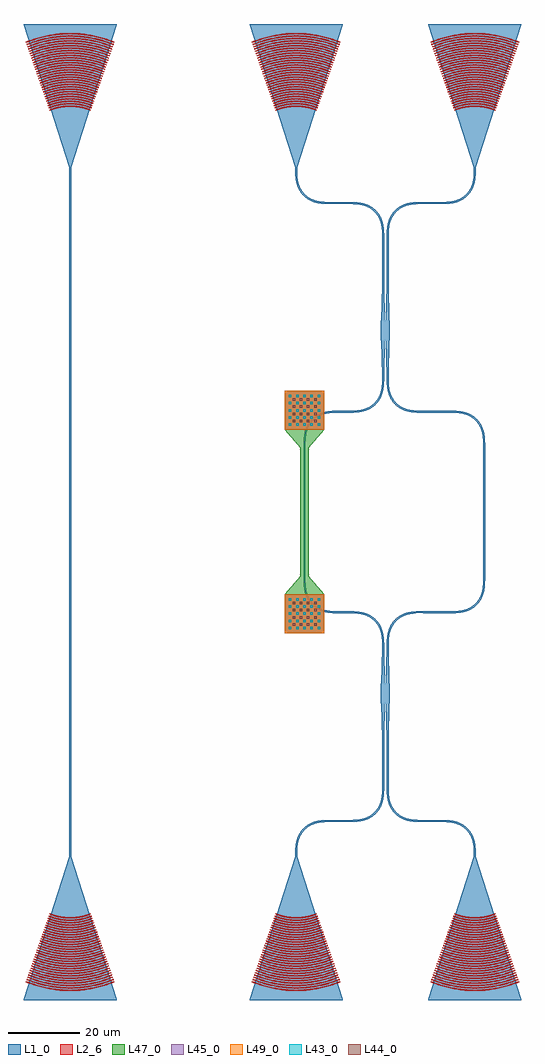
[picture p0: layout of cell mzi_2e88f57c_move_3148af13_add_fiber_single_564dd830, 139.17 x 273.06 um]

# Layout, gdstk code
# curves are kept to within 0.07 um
from math import pi, radians
import gdstk
lib = gdstk.Library(unit=1e-6, precision=1e-09)
def R(c, l, rs):  # rectangles x0, y0, x1, y1
    for r in rs: c.add(gdstk.rectangle(r[:2], r[2:], *l))
def P(c, l, *ps):  # polygons
    for p in ps: c.add(gdstk.Polygon(p, *l))
L1_0 = (1, 0)
L2_6 = (2, 6)
L43_0 = (43, 0)
L44_0 = (44, 0)
L45_0 = (45, 0)
L47_0 = (47, 0)
L49_0 = (49, 0)

mmi2x2 = lib.new_cell('mmi2x2')
R(mmi2x2, L1_0, [(0,-1.25,5.5,1.25)])
P(mmi2x2, L1_0, [(-10,-0.375),(0,-0.125),(0,-1.125),(-10,-0.875)],
  [(-10,0.875),(0,1.125),(0,0.125),(-10,0.375)],
  [(15.5,0.375),(5.5,0.125),(5.5,1.125),(15.5,0.875)],
  [(15.5,-0.875),(5.5,-1.125),(5.5,-0.125),(15.5,-0.375)])

bend_euler = lib.new_cell('bend_euler')
P(bend_euler, L1_0, [(0,-0.25),(2.795,-0.158),(4.746,0.203),(5.688,0.543),(6.455,0.934),(7.285,1.5),(7.928,2.072),(8.5,2.715),(9.066,3.545),(9.457,4.312),(9.797,5.254),(10.158,7.205),(10.25,10),(9.75,10),(9.647,7.119),(9.48,6.048),(9.194,5.01),(8.495,3.569),(7.575,2.425),(6.431,1.505),(4.99,0.806),(3.952,0.52),(2.881,0.353),(0,0.25)])

straight_length7p0 = lib.new_cell('straight_length7p0')
R(straight_length7p0, L1_0, [(0,-0.25,7,0.25)])

straight_length0p1 = lib.new_cell('straight_length0p1')
R(straight_length0p1, L1_0, [(0,-0.25,0.1,0.25)])

straight_length2p0 = lib.new_cell('straight_length2p0')
R(straight_length2p0, L1_0, [(0,-0.25,2,0.25)])

straight_add_pinsfalse_l = lib.new_cell('straight_add_pinsFalse_length0p1')
R(straight_add_pinsfalse_l, L1_0, [(0,-0.25,0.1,0.25)])

straight_6e0386c1 = lib.new_cell('straight_6e0386c1')
R(straight_6e0386c1, L1_0, [(0,-0.25,17.95,0.25)])
R(straight_6e0386c1, L47_0, [(0,-1.25,17.95,1.25)])

component_sequence_a6803 = lib.new_cell('component_sequence_a6803755')
component_sequence_a6803.add(gdstk.Reference(straight_add_pinsfalse_l, (0,0)))
component_sequence_a6803.add(gdstk.Reference(straight_6e0386c1, (0.1,0)))
component_sequence_a6803.add(gdstk.Reference(straight_6e0386c1, (18.05,0)))
component_sequence_a6803.add(gdstk.Reference(straight_add_pinsfalse_l, (36,0)))

compass_d8224c77 = lib.new_cell('compass_d8224c77')
R(compass_d8224c77, L47_0, [(-5.5,-5.5,5.5,5.5)])

compass_layerm2_size11p0 = lib.new_cell('compass_layerM2_size11p0__11p0')
R(compass_layerm2_size11p0, L45_0, [(-5.5,-5.5,5.5,5.5)])

compass_layermtop_size11 = lib.new_cell('compass_layerMTOP_size11p0__11p0')
R(compass_layermtop_size11, L49_0, [(-5.5,-5.5,5.5,5.5)])

via_enclosure2_layervia1 = lib.new_cell('via_enclosure2_layerVIA1')
R(via_enclosure2_layervia1, L44_0, [(-0.35,-0.35,0.35,0.35)])

via_layervia2 = lib.new_cell('via_layerVIA2')
R(via_layervia2, L43_0, [(-0.35,-0.35,0.35,0.35)])

via_stack_64ed2af4 = lib.new_cell('via_stack_64ed2af4')
via_stack_64ed2af4.add(gdstk.Reference(compass_d8224c77, (0,0)))
via_stack_64ed2af4.add(gdstk.Reference(compass_layerm2_size11p0, (0,0)))
via_stack_64ed2af4.add(gdstk.Reference(compass_layermtop_size11, (0,0)))
r = gdstk.Reference(via_enclosure2_layervia1, (-3,-3)); r.repetition = gdstk.Repetition(4, 4, v1=(2,0), v2=(0,2)); via_stack_64ed2af4.add(r)
r = gdstk.Reference(via_layervia2, (-4,-4)); r.repetition = gdstk.Repetition(5, 5, v1=(2,0), v2=(0,2)); via_stack_64ed2af4.add(r)

taper_724fbfc5 = lib.new_cell('taper_724fbfc5')
P(taper_724fbfc5, L47_0, [(0,5.5),(5,1.25),(5,-1.25),(0,-5.5)])

straight_heater_metal_un = lib.new_cell('straight_heater_metal_undercut_7c702180')
straight_heater_metal_un.add(gdstk.Reference(component_sequence_a6803, (0,0)))
straight_heater_metal_un.add(gdstk.Reference(via_stack_64ed2af4, (-10.4,0)))
straight_heater_metal_un.add(gdstk.Reference(via_stack_64ed2af4, (46.5,0)))
straight_heater_metal_un.add(gdstk.Reference(taper_724fbfc5, (-4.9,0)))
straight_heater_metal_un.add(gdstk.Reference(taper_724fbfc5, (41,0), rotation=pi))

bend_euler_bfe3acbc = lib.new_cell('bend_euler_bfe3acbc')
P(bend_euler_bfe3acbc, L1_0, [(0,-0.25),(2.795,-0.158),(4.746,0.203),(5.688,0.543),(6.455,0.934),(7.285,1.5),(7.928,2.072),(8.5,2.715),(9.066,3.545),(9.457,4.312),(9.797,5.254),(10.158,7.205),(10.25,10),(9.75,10),(9.647,7.119),(9.48,6.048),(9.194,5.01),(8.495,3.569),(7.575,2.425),(6.431,1.505),(4.99,0.806),(3.952,0.52),(2.881,0.353),(0,0.25)])

straight_c32ff59b = lib.new_cell('straight_c32ff59b')
R(straight_c32ff59b, L1_0, [(0,-0.25,0.01,0.25)])

straight_8ff7e57c = lib.new_cell('straight_8ff7e57c')
R(straight_8ff7e57c, L1_0, [(0,-0.25,2,0.25)])

straight_1a78eb69 = lib.new_cell('straight_1a78eb69')
R(straight_1a78eb69, L1_0, [(0,-0.25,36.01,0.25)])

straight_bff6b4c5 = lib.new_cell('straight_bff6b4c5')
R(straight_bff6b4c5, L1_0, [(0,-0.25,7,0.25)])

mzi_2e88f57c = lib.new_cell('mzi_2e88f57c')
mzi_2e88f57c.add(gdstk.Reference(mmi2x2, (0,0)))
mzi_2e88f57c.add(gdstk.Reference(mmi2x2, (107.12,0), rotation=pi, x_reflection=True))
mzi_2e88f57c.add(gdstk.Reference(bend_euler, (15.5,-0.625), x_reflection=True))
mzi_2e88f57c.add(gdstk.Reference(straight_length7p0, (25.5,-10.625), rotation=3*pi/2))
mzi_2e88f57c.add(gdstk.Reference(bend_euler, (25.5,-17.625), rotation=3*pi/2))
mzi_2e88f57c.add(gdstk.Reference(straight_length0p1, (35.5,-27.625)))
mzi_2e88f57c.add(gdstk.Reference(bend_euler, (15.5,0.625)))
mzi_2e88f57c.add(gdstk.Reference(straight_length2p0, (25.5,10.625), rotation=pi/2))
mzi_2e88f57c.add(gdstk.Reference(bend_euler, (35.5,22.625), rotation=pi))
mzi_2e88f57c.add(gdstk.Reference(straight_heater_metal_un, (35.5,22.625)))
mzi_2e88f57c.add(gdstk.Reference(bend_euler_bfe3acbc, (71.61,22.625), x_reflection=True))
mzi_2e88f57c.add(gdstk.Reference(bend_euler_bfe3acbc, (81.61,10.625), rotation=3*pi/2))
mzi_2e88f57c.add(gdstk.Reference(straight_c32ff59b, (71.6,22.625)))
mzi_2e88f57c.add(gdstk.Reference(straight_8ff7e57c, (81.61,12.625), rotation=3*pi/2))
mzi_2e88f57c.add(gdstk.Reference(straight_c32ff59b, (91.61,0.625)))
mzi_2e88f57c.add(gdstk.Reference(bend_euler_bfe3acbc, (71.61,-27.625)))
mzi_2e88f57c.add(gdstk.Reference(bend_euler_bfe3acbc, (81.61,-10.625), rotation=pi/2, x_reflection=True))
mzi_2e88f57c.add(gdstk.Reference(straight_1a78eb69, (35.6,-27.625)))
mzi_2e88f57c.add(gdstk.Reference(straight_bff6b4c5, (81.61,-17.625), rotation=pi/2))
mzi_2e88f57c.add(gdstk.Reference(straight_c32ff59b, (91.61,-0.625)))

mzi_2e88f57c_move_3148af = lib.new_cell('mzi_2e88f57c_move_3148af13')
mzi_2e88f57c_move_3148af.add(gdstk.Reference(mzi_2e88f57c, (10,0.625)))

straight_18b5235a = lib.new_cell('straight_18b5235a')
R(straight_18b5235a, L1_0, [(0,-0.25,12.89,0.25)])

straight_9d4abc06 = lib.new_cell('straight_9d4abc06')
R(straight_9d4abc06, L1_0, [(0,-0.25,4.35,0.25)])

straight_4a691cdc = lib.new_cell('straight_4a691cdc')
R(straight_4a691cdc, L1_0, [(0,-0.25,4.4,0.25)])

straight_5fb44ea7 = lib.new_cell('straight_5fb44ea7')
R(straight_5fb44ea7, L1_0, [(0,-0.25,12.87,0.25)])

grating_coupler_elliptic = lib.new_cell('grating_coupler_elliptical_trenches_taper_angle35')
P(grating_coupler_elliptic, L1_0, [(0.471,-0.25),(0.471,0.25),(40.352,12.973),(40.552,12.973),(40.552,-12.973),(40.352,-12.973)])
P(grating_coupler_elliptic, L2_6, [(16.414,-5.811),(16.3,-5.646),(16.82,-4.153),(17.178,-2.617),(17.351,-1.313),(17.409,0),(17.351,1.313),(17.178,2.617),(16.82,4.153),(16.3,5.646),(16.414,5.811),(16.61,5.77),(16.981,4.76),(17.344,3.465),(17.658,1.611),(17.743,0),(17.658,-1.611),(17.344,-3.465),(16.981,-4.76),(16.61,-5.77)],
  [(17.047,-6.03),(16.933,-5.866),(17.473,-4.315),(17.845,-2.718),(18.025,-1.364),(18.085,0),(18.025,1.364),(17.845,2.718),(17.473,4.315),(16.933,5.866),(17.047,6.03),(17.243,5.988),(17.444,5.469),(17.793,4.407),(18.066,3.325),(18.33,1.671),(18.419,0),(18.33,-1.671),(18.066,-3.325),(17.793,-4.407),(17.444,-5.469),(17.243,-5.988)],
  [(17.68,-6.25),(17.566,-6.086),(18.126,-4.477),(18.512,-2.82),(18.699,-1.415),(18.761,0),(18.699,1.415),(18.512,2.82),(18.126,4.477),(17.566,6.086),(17.68,6.25),(17.876,6.208),(17.982,5.94),(18.363,4.846),(18.665,3.729),(19.003,1.733),(19.095,0),(19.003,-1.733),(18.665,-3.729),(18.363,-4.846),(17.982,-5.94),(17.876,-6.208)],
  [(18.313,-6.469),(18.199,-6.304),(18.779,-4.638),(19.179,-2.922),(19.373,-1.466),(19.437,0),(19.373,1.466),(19.179,2.922),(18.779,4.638),(18.199,6.304),(18.313,6.469),(18.509,6.428),(18.619,6.15),(19.013,5.018),(19.326,3.861),(19.676,1.794),(19.771,0),(19.676,-1.794),(19.326,-3.861),(19.013,-5.018),(18.619,-6.15),(18.509,-6.428)],
  [(18.946,-6.689),(18.832,-6.525),(19.432,-4.8),(19.846,-3.024),(20.046,-1.517),(20.113,0),(20.046,1.517),(19.846,3.024),(19.432,4.8),(18.832,6.525),(18.946,6.689),(19.142,6.647),(19.365,6.07),(19.752,4.892),(20.055,3.69),(20.349,1.855),(20.447,0),(20.349,-1.855),(20.055,-3.69),(19.752,-4.892),(19.365,-6.07),(19.142,-6.647)],
  [(19.579,-6.908),(19.465,-6.744),(20.085,-4.961),(20.513,-3.125),(20.72,-1.568),(20.789,0),(20.72,1.568),(20.513,3.125),(20.085,4.961),(19.465,6.744),(19.579,6.908),(19.775,6.866),(20.005,6.27),(20.405,5.053),(20.718,3.812),(21.021,1.917),(21.123,0),(21.021,-1.917),(20.718,-3.812),(20.405,-5.053),(20.005,-6.27),(19.775,-6.866)],
  [(20.212,-7.128),(20.098,-6.964),(20.738,-5.123),(21.18,-3.227),(21.394,-1.619),(21.465,0),(21.394,1.619),(21.18,3.227),(20.738,5.123),(20.098,6.964),(20.212,7.128),(20.408,7.086),(20.646,6.471),(21.058,5.215),(21.381,3.934),(21.694,1.978),(21.799,0),(21.694,-1.978),(21.381,-3.934),(21.058,-5.215),(20.646,-6.471),(20.408,-7.086)],
  [(20.844,-7.347),(20.73,-7.182),(21.391,-5.284),(21.847,-3.329),(22.068,-1.67),(22.141,0),(22.068,1.67),(21.847,3.329),(21.391,5.284),(20.73,7.182),(20.844,7.347),(21.04,7.306),(21.286,6.672),(21.711,5.376),(22.044,4.056),(22.367,2.039),(22.475,0),(22.367,-2.039),(22.044,-4.056),(21.711,-5.376),(21.286,-6.672),(21.04,-7.306)],
  [(21.477,-7.567),(21.363,-7.402),(22.044,-5.446),(22.514,-3.431),(22.741,-1.721),(22.817,0),(22.741,1.721),(22.514,3.431),(22.044,5.446),(21.363,7.402),(21.477,7.567),(21.673,7.526),(21.926,6.871),(22.364,5.538),(22.707,4.177),(23.04,2.1),(23.151,0),(23.04,-2.1),(22.707,-4.177),(22.364,-5.538),(21.926,-6.871),(21.673,-7.526)],
  [(22.11,-7.786),(21.996,-7.621),(22.697,-5.607),(23.181,-3.533),(23.415,-1.773),(23.493,0),(23.415,1.773),(23.181,3.533),(22.697,5.607),(21.996,7.621),(22.11,7.786),(22.306,7.745),(22.566,7.072),(23.017,5.699),(23.37,4.299),(23.712,2.161),(23.827,0),(23.712,-2.161),(23.37,-4.299),(23.017,-5.699),(22.566,-7.072),(22.306,-7.745)],
  [(22.743,-8.006),(22.629,-7.842),(23.35,-5.769),(23.848,-3.634),(24.089,-1.824),(24.169,0),(24.089,1.824),(23.848,3.634),(23.35,5.769),(22.629,7.842),(22.743,8.006),(22.939,7.964),(23.207,7.273),(23.67,5.861),(24.033,4.421),(24.385,2.223),(24.503,0),(24.385,-2.223),(24.033,-4.421),(23.67,-5.861),(23.207,-7.273),(22.939,-7.964)],
  [(23.376,-8.225),(23.262,-8.06),(24.003,-5.93),(24.515,-3.736),(24.763,-1.875),(24.845,0),(24.763,1.875),(24.515,3.736),(24.003,5.93),(23.262,8.06),(23.376,8.225),(23.572,8.184),(23.847,7.474),(24.323,6.022),(24.696,4.543),(25.058,2.284),(25.179,0),(25.058,-2.284),(24.696,-4.543),(24.323,-6.022),(23.847,-7.474),(23.572,-8.184)],
  [(24.009,-8.445),(23.895,-8.28),(24.657,-6.092),(25.182,-3.838),(25.436,-1.926),(25.521,0),(25.436,1.926),(25.182,3.838),(24.657,6.092),(23.895,8.28),(24.009,8.445),(24.205,8.404),(24.619,7.305),(24.977,6.184),(25.359,4.665),(25.731,2.346),(25.855,0),(25.731,-2.346),(25.359,-4.665),(24.977,-6.184),(24.619,-7.305),(24.205,-8.404)],
  [(24.642,-8.664),(24.528,-8.499),(25.31,-6.253),(25.849,-3.94),(26.11,-1.977),(26.197,0),(26.11,1.977),(25.849,3.94),(25.31,6.253),(24.528,8.499),(24.642,8.664),(24.838,8.623),(25.263,7.496),(25.63,6.345),(26.022,4.787),(26.404,2.407),(26.531,0),(26.404,-2.407),(26.022,-4.787),(25.63,-6.345),(25.263,-7.496),(24.838,-8.623)],
  [(25.275,-8.884),(25.161,-8.72),(25.963,-6.415),(26.516,-4.041),(26.784,-2.028),(26.873,0),(26.784,2.028),(26.516,4.041),(25.963,6.415),(25.161,8.72),(25.275,8.884),(25.471,8.842),(25.907,7.686),(26.283,6.507),(26.686,4.908),(27.076,2.468),(27.207,0),(27.076,-2.468),(26.686,-4.908),(26.283,-6.507),(25.907,-7.686),(25.471,-8.842)],
  [(25.908,-9.103),(25.794,-8.939),(26.237,-7.767),(26.616,-6.576),(26.932,-5.367),(27.183,-4.143),(27.458,-2.079),(27.549,0),(27.458,2.079),(27.183,4.143),(26.932,5.367),(26.616,6.576),(26.237,7.767),(25.794,8.939),(25.908,9.103),(26.104,9.061),(26.551,7.877),(26.936,6.668),(27.349,5.03),(27.749,2.529),(27.849,1.266),(27.883,0),(27.849,-1.266),(27.749,-2.529),(27.349,-5.03),(26.936,-6.668),(26.551,-7.877),(26.104,-9.061)],
  [(26.54,-9.323),(26.426,-9.158),(26.88,-7.958),(27.269,-6.738),(27.593,-5.498),(27.85,-4.245),(28.131,-2.13),(28.225,0),(28.131,2.13),(27.85,4.245),(27.593,5.498),(27.269,6.738),(26.88,7.958),(26.426,9.158),(26.54,9.323),(26.736,9.282),(27.194,8.068),(27.706,6.413),(28.012,5.152),(28.25,3.876),(28.422,2.59),(28.524,1.297),(28.559,0),(28.524,-1.297),(28.422,-2.59),(28.25,-3.876),(28.012,-5.152),(27.706,-6.413),(27.194,-8.068),(26.736,-9.282)],
  [(27.173,-9.542),(27.059,-9.377),(27.524,-8.149),(27.922,-6.9),(28.254,-5.63),(28.517,-4.347),(28.805,-2.181),(28.901,0),(28.805,2.181),(28.517,4.347),(28.254,5.63),(27.922,6.9),(27.524,8.149),(27.059,9.377),(27.173,9.542),(27.369,9.501),(27.838,8.259),(28.362,6.565),(28.675,5.274),(28.919,3.968),(29.095,2.652),(29.199,1.328),(29.235,0),(29.199,-1.328),(29.095,-2.652),(28.919,-3.968),(28.675,-5.274),(28.362,-6.565),(27.838,-8.259),(27.369,-9.501)],
  [(27.806,-9.762),(27.692,-9.597),(28.168,-8.339),(28.575,-7.061),(28.914,-5.762),(29.184,-4.448),(29.479,-2.232),(29.577,0),(29.479,2.232),(29.184,4.448),(28.914,5.762),(28.575,7.061),(28.168,8.339),(27.692,9.597),(27.806,9.762),(28.002,9.721),(28.482,8.449),(28.895,7.153),(29.338,5.396),(29.587,4.06),(29.767,2.713),(29.874,1.358),(29.911,0),(29.874,-1.358),(29.767,-2.713),(29.587,-4.06),(29.338,-5.396),(28.895,-7.153),(28.482,-8.449),(28.002,-9.721)],
  [(28.439,-9.981),(28.325,-9.816),(28.812,-8.53),(29.228,-7.223),(29.575,-5.894),(29.851,-4.55),(30.153,-2.283),(30.253,0),(30.153,2.283),(29.851,4.55),(29.575,5.894),(29.228,7.223),(28.812,8.53),(28.325,9.816),(28.439,9.981),(28.635,9.94),(29.126,8.64),(29.548,7.315),(30.001,5.518),(30.256,4.151),(30.44,2.774),(30.549,1.389),(30.587,0),(30.549,-1.389),(30.44,-2.774),(30.256,-4.151),(30.001,-5.518),(29.673,-6.869),(29.126,-8.64),(28.635,-9.94)],
  [(29.072,-10.201),(28.958,-10.037),(29.455,-8.721),(29.881,-7.384),(30.236,-6.026),(30.518,-4.652),(30.826,-2.334),(30.929,0),(30.826,2.334),(30.518,4.652),(30.236,6.026),(29.881,7.384),(29.455,8.721),(28.958,10.037),(29.072,10.201),(29.268,10.159),(29.769,8.831),(30.329,7.02),(30.664,5.639),(30.925,4.243),(31.113,2.836),(31.225,1.42),(31.263,0),(31.225,-1.42),(31.113,-2.836),(30.925,-4.243),(30.664,-5.639),(30.329,-7.02),(29.769,-8.831),(29.268,-10.159)],
  [(29.705,-10.42),(29.591,-10.255),(30.099,-8.912),(30.534,-7.546),(30.897,-6.158),(31.185,-4.754),(31.5,-2.385),(31.605,0),(31.5,2.385),(31.185,4.754),(30.897,6.158),(30.534,7.546),(30.099,8.912),(29.591,10.255),(29.705,10.42),(29.901,10.379),(30.413,9.022),(30.985,7.172),(31.327,5.761),(31.593,4.335),(31.786,2.896),(31.9,1.45),(31.939,0),(31.9,-1.45),(31.786,-2.896),(31.593,-4.335),(31.327,-5.761),(30.985,-7.172),(30.413,-9.022),(29.901,-10.379)],
  [(30.338,-10.64),(30.224,-10.475),(30.743,-9.103),(31.187,-7.707),(31.558,-6.289),(31.852,-4.855),(32.174,-2.437),(32.281,0),(32.174,2.437),(31.852,4.855),(31.558,6.289),(31.187,7.707),(30.743,9.103),(30.224,10.475),(30.338,10.64),(30.534,10.599),(31.057,9.213),(31.641,7.324),(31.99,5.883),(32.262,4.426),(32.458,2.958),(32.575,1.481),(32.615,0),(32.575,-1.481),(32.458,-2.958),(32.262,-4.426),(31.99,-5.883),(31.641,-7.324),(31.057,-9.213),(30.534,-10.599)],
  [(30.971,-10.859),(30.857,-10.695),(31.387,-9.293),(31.84,-7.869),(32.219,-6.421),(32.519,-4.957),(32.848,-2.488),(32.957,0),(32.848,2.488),(32.519,4.957),(32.219,6.421),(31.84,7.869),(31.387,9.293),(30.857,10.695),(30.971,10.859),(31.167,10.817),(31.701,9.403),(32.297,7.476),(32.653,6.005),(32.931,4.518),(33.131,3.019),(33.25,1.512),(33.291,0),(33.25,-1.512),(33.131,-3.019),(32.931,-4.518),(32.653,-6.005),(32.297,-7.476),(31.701,-9.403),(31.167,-10.817)],
  [(31.604,-11.079),(31.49,-10.915),(32.03,-9.484),(32.493,-8.03),(32.879,-6.553),(33.186,-5.059),(33.521,-2.539),(33.633,0),(33.521,2.539),(33.186,5.059),(32.879,6.553),(32.493,8.03),(32.03,9.484),(31.49,10.915),(31.604,11.079),(31.8,11.037),(32.344,9.594),(32.952,7.627),(33.316,6.127),(33.6,4.61),(33.804,3.081),(33.925,1.542),(33.967,0),(33.925,-1.542),(33.804,-3.081),(33.6,-4.61),(33.316,-6.127),(32.952,-7.627),(32.344,-9.594),(31.8,-11.037)],
  [(32.237,-11.298),(32.123,-11.133),(32.674,-9.675),(33.146,-8.192),(33.54,-6.685),(33.853,-5.161),(34.195,-2.59),(34.309,0),(34.195,2.59),(33.853,5.161),(33.54,6.685),(33.146,8.192),(32.674,9.675),(32.123,11.133),(32.237,11.298),(32.433,11.257),(32.988,9.785),(33.608,7.779),(33.979,6.249),(34.268,4.701),(34.477,3.142),(34.601,1.573),(34.643,0),(34.601,-1.573),(34.477,-3.142),(34.268,-4.701),(33.979,-6.249),(33.608,-7.779),(32.988,-9.785),(32.433,-11.257)],
  [(32.869,-11.518),(32.755,-11.353),(33.318,-9.866),(33.799,-8.353),(34.201,-6.817),(34.52,-5.262),(34.869,-2.641),(34.985,0),(34.869,2.641),(34.52,5.262),(34.201,6.817),(33.799,8.353),(33.318,9.866),(32.755,11.353),(32.869,11.518),(33.065,11.477),(33.632,9.976),(34.264,7.931),(34.642,6.37),(34.937,4.793),(35.149,3.203),(35.276,1.604),(35.319,0),(35.276,-1.604),(35.149,-3.203),(34.937,-4.793),(34.642,-6.37),(34.264,-7.931),(33.632,-9.976),(33.065,-11.477)],
  [(33.502,-11.738),(33.388,-11.573),(33.962,-10.056),(34.453,-8.515),(34.862,-6.949),(35.187,-5.364),(35.543,-2.692),(35.661,0),(35.543,2.692),(35.187,5.364),(34.862,6.949),(34.453,8.515),(33.962,10.056),(33.388,11.573),(33.502,11.738),(33.698,11.697),(34.276,10.166),(34.773,8.607),(35.305,6.492),(35.606,4.885),(35.822,3.264),(35.951,1.634),(35.995,0),(35.951,-1.634),(35.822,-3.264),(35.606,-4.885),(35.305,-6.492),(34.773,-8.607),(34.276,-10.166),(33.698,-11.697)],
  [(34.135,-11.957),(34.021,-11.792),(34.605,-10.247),(35.106,-8.676),(35.523,-7.08),(35.854,-5.466),(36.216,-2.743),(36.337,0),(36.216,2.743),(35.854,5.466),(35.523,7.08),(35.106,8.676),(34.605,10.247),(34.021,11.792),(34.135,11.957),(34.331,11.916),(34.919,10.357),(35.576,8.233),(35.968,6.614),(36.274,4.976),(36.495,3.325),(36.626,1.665),(36.671,0),(36.626,-1.665),(36.495,-3.325),(36.274,-4.976),(35.968,-6.614),(35.576,-8.233),(34.919,-10.357),(34.331,-11.916)],
  [(34.768,-12.177),(34.654,-12.013),(35.249,-10.438),(35.759,-8.838),(36.183,-7.212),(36.521,-5.568),(36.89,-2.794),(37.013,0),(36.89,2.794),(36.521,5.568),(36.183,7.212),(35.759,8.838),(35.249,10.438),(34.654,12.013),(34.768,12.177),(34.964,12.135),(35.563,10.548),(36.232,8.385),(36.631,6.736),(36.943,5.068),(37.168,3.387),(37.301,1.696),(37.347,0),(37.301,-1.696),(37.168,-3.387),(36.943,-5.068),(36.631,-6.736),(36.232,-8.385),(35.563,-10.548),(34.964,-12.135)],
  [(35.401,-12.396),(35.287,-12.231),(35.893,-10.629),(36.412,-8.999),(36.844,-7.344),(37.188,-5.669),(37.564,-2.845),(37.689,0),(37.564,2.845),(37.188,5.669),(36.844,7.344),(36.412,8.999),(35.893,10.629),(35.287,12.231),(35.401,12.396),(35.597,12.355),(36.207,10.739),(36.732,9.091),(37.295,6.858),(37.612,5.16),(37.84,3.448),(37.977,1.726),(38.023,0),(37.977,-1.726),(37.84,-3.448),(37.612,-5.16),(37.295,-6.858),(36.732,-9.091),(36.207,-10.739),(35.597,-12.355)])

straight_length192p9 = lib.new_cell('straight_length192p9')
R(straight_length192p9, L1_0, [(0,-0.25,192.9,0.25)])

c_mzi_2e88f57c_move_3148af = lib.new_cell('mzi_2e88f57c_move_3148af13_add_fiber_single_564dd830')
c_mzi_2e88f57c_move_3148af.add(gdstk.Reference(mzi_2e88f57c_move_3148af, (0,0), rotation=pi/2))
c_mzi_2e88f57c_move_3148af.add(gdstk.Reference(bend_euler_bfe3acbc, (-1.25,-12.89), rotation=3*pi/2, x_reflection=True))
c_mzi_2e88f57c_move_3148af.add(gdstk.Reference(bend_euler_bfe3acbc, (-15.6,-22.89), rotation=pi))
c_mzi_2e88f57c_move_3148af.add(gdstk.Reference(straight_18b5235a, (-1.25,0), rotation=3*pi/2))
c_mzi_2e88f57c_move_3148af.add(gdstk.Reference(straight_9d4abc06, (-11.25,-22.89), rotation=pi))
c_mzi_2e88f57c_move_3148af.add(gdstk.Reference(straight_c32ff59b, (-25.6,-32.89), rotation=3*pi/2))
c_mzi_2e88f57c_move_3148af.add(gdstk.Reference(bend_euler_bfe3acbc, (0,-12.89), rotation=3*pi/2))
c_mzi_2e88f57c_move_3148af.add(gdstk.Reference(bend_euler_bfe3acbc, (14.4,-22.89), x_reflection=True))
c_mzi_2e88f57c_move_3148af.add(gdstk.Reference(straight_18b5235a, (0,0), rotation=3*pi/2))
c_mzi_2e88f57c_move_3148af.add(gdstk.Reference(straight_4a691cdc, (10,-22.89)))
c_mzi_2e88f57c_move_3148af.add(gdstk.Reference(straight_c32ff59b, (24.4,-32.89), rotation=3*pi/2))
c_mzi_2e88f57c_move_3148af.add(gdstk.Reference(bend_euler_bfe3acbc, (0,139.99), rotation=pi/2, x_reflection=True))
c_mzi_2e88f57c_move_3148af.add(gdstk.Reference(bend_euler_bfe3acbc, (14.4,149.99)))
c_mzi_2e88f57c_move_3148af.add(gdstk.Reference(straight_5fb44ea7, (0,127.12), rotation=pi/2))
c_mzi_2e88f57c_move_3148af.add(gdstk.Reference(straight_4a691cdc, (10,149.99)))
c_mzi_2e88f57c_move_3148af.add(gdstk.Reference(straight_c32ff59b, (24.4,159.99), rotation=pi/2))
c_mzi_2e88f57c_move_3148af.add(gdstk.Reference(bend_euler_bfe3acbc, (-1.25,139.99), rotation=pi/2))
c_mzi_2e88f57c_move_3148af.add(gdstk.Reference(bend_euler_bfe3acbc, (-15.6,149.99), rotation=pi, x_reflection=True))
c_mzi_2e88f57c_move_3148af.add(gdstk.Reference(straight_5fb44ea7, (-1.25,127.12), rotation=pi/2))
c_mzi_2e88f57c_move_3148af.add(gdstk.Reference(straight_9d4abc06, (-11.25,149.99), rotation=pi))
c_mzi_2e88f57c_move_3148af.add(gdstk.Reference(straight_c32ff59b, (-25.6,159.99), rotation=pi/2))
c_mzi_2e88f57c_move_3148af.add(gdstk.Reference(grating_coupler_elliptic, (-25.6,-32.429), rotation=3*pi/2))
c_mzi_2e88f57c_move_3148af.add(gdstk.Reference(grating_coupler_elliptic, (24.4,-32.429), rotation=3*pi/2))
c_mzi_2e88f57c_move_3148af.add(gdstk.Reference(grating_coupler_elliptic, (24.4,159.529), rotation=pi/2))
c_mzi_2e88f57c_move_3148af.add(gdstk.Reference(grating_coupler_elliptic, (-25.6,159.529), rotation=pi/2))
c_mzi_2e88f57c_move_3148af.add(gdstk.Reference(straight_length192p9, (-88.823,-32.9), rotation=pi/2))
c_mzi_2e88f57c_move_3148af.add(gdstk.Reference(grating_coupler_elliptic, (-88.823,-32.429), rotation=3*pi/2))
c_mzi_2e88f57c_move_3148af.add(gdstk.Reference(grating_coupler_elliptic, (-88.823,159.529), rotation=pi/2))

lib.write_gds('mzi_2e88f57c_move_3148af13_add_fiber_single_564dd830.gds')
